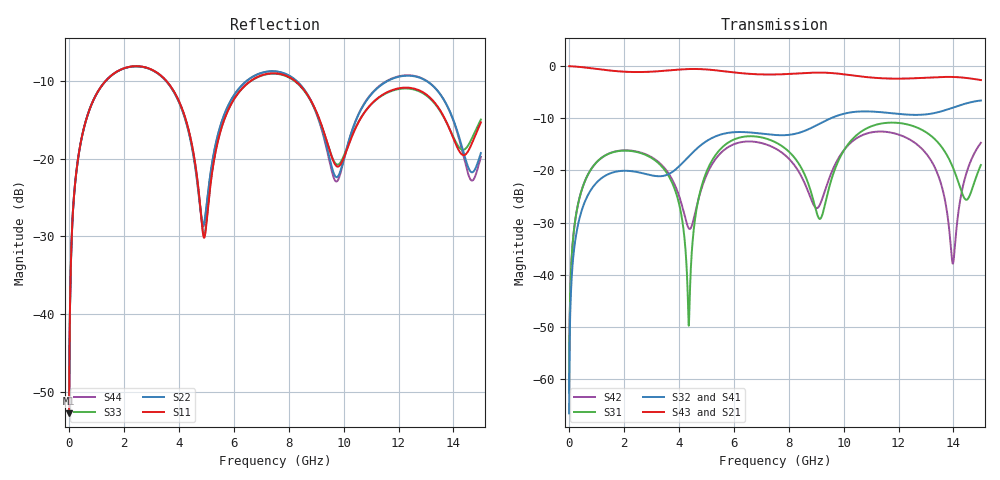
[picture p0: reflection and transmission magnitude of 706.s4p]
! Created with skrf 1.8.0 (http://scikit-rf.org).
# GHz S RI R 50.0
!freq ReS11 ImS11 ReS12 ImS12 ReS13 ImS13
! ReS14 ImS14
! ReS21 ImS21 ReS22 ImS22 ReS23 ImS23
! ReS24 ImS24
! ReS31 ImS31 ReS32 ImS32 ReS33 ImS33
! ReS34 ImS34
! ReS41 ImS41 ReS42 ImS42 ReS43 ImS43
! ReS44 ImS44
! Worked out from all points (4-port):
!   2499 points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, 5 MHz to 15 GHz, reference 50 ohm
!   strongest paths, dB at 5 MHz, 3.476 GHz, 7.19 GHz, 11.1 GHz, 15 GHz:
!     S43: 0.0, -0.9, -1.6, -2.2, -2.7
!     S21: 0.0, -0.9, -1.6, -2.2, -2.7
!     S32: -66.6, -21.0, -13.1, -8.7, -6.6
!     S41: -66.6, -21.1, -13.1, -8.8, -6.6
!     S31: -62.6, -19.9, -13.9, -11.4, -19.0
!     S42: -62.6, -19.5, -15.0, -12.6, -14.7
!   lowest |S11| = -52.8 dB at 5 MHz (marker M1), VSWR 1.00, Z = 50.2 + j0.139 ohm
!   |S11| at or under -10 dB: start of sweep to 1.334 GHz; 3.549 GHz to 6.614 GHz (3.065 GHz wide, 60.3 % of centre); 8.235 GHz to end of sweep
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0.005  0.00183 0.00139  0.9981 -0.00356  9.28e-05 0.000734  -9.01e-05 -0.000459
       0.9981 -0.00356  0.00183 0.00139  -9.01e-05 -0.000459  9.28e-05 0.000734
       9.28e-05 0.000734  -9.01e-05 -0.000459  0.00183 0.00139  0.9981 -0.00356
       -9.01e-05 -0.000459  9.28e-05 0.000734  0.9981 -0.00356  0.00183 0.00139
0.3626511  0.0365 0.1027  0.9496 -0.2533  0.0176 0.0487  -0.0146 -0.0296
           0.9496 -0.2533  0.0364 0.1027  -0.0146 -0.0296  0.0178 0.0487
           0.0176 0.0487  -0.0146 -0.0296  0.0365 0.1027  0.9496 -0.2533
           -0.0146 -0.0296  0.0178 0.0487  0.9496 -0.2533  0.0364 0.1027
1.825761  0.3497 0.1209  0.3378 -0.8234  0.1506 0.0296  -0.094 0.0282
          0.3378 -0.8234  0.349 0.1216  -0.0941 0.0285  0.1522 0.0256
          0.1506 0.0296  -0.0941 0.0285  0.3495 0.121  0.3379 -0.8234
          -0.094 0.0282  0.1522 0.0256  0.3379 -0.8234  0.349 0.1215
4.358066  0.0766 -0.1325  -0.8488 -0.3952  0.0033 -1.84e-06  -0.054 0.1244
          -0.8488 -0.3952  0.08 -0.1261  -0.0522 0.1252  -0.0247 -0.0131
          0.0033 -1.84e-06  -0.0522 0.1252  0.0771 -0.1314  -0.8489 -0.3952
          -0.054 0.1244  -0.0247 -0.0131  -0.8489 -0.3952  0.0787 -0.1258
5.589829  0.1068 0.1261  -0.8275 0.3426  0.1228 0.1134  0.113 0.1921
          -0.8275 0.3426  0.1215 0.1311  0.1156 0.1908  0.081 0.1287
          0.1228 0.1134  0.1156 0.1908  0.1075 0.1257  -0.8276 0.3423
          0.113 0.1921  0.081 0.1287  -0.8276 0.3423  0.1207 0.1324
9.860358  0.0903 0.00184  0.8372 0.1  0.0238 0.1294  0.0337 -0.339
          0.8372 0.1  0.0799 0.0141  0.0246 -0.3394  -0.0169 0.1359
          0.0238 0.1294  0.0246 -0.3394  0.0933 0.00348  0.8371 0.1013
          0.0337 -0.339  -0.0169 0.1359  0.8371 0.1013  0.0757 0.0179
15  0.1503 0.0818  -0.7322 -0.0591  0.0282 0.109  -0.0177 0.4689
    -0.7322 -0.0591  0.102 0.0377  0.00206 0.4681  0.0824 0.1642
    0.0282 0.109  0.00206 0.4681  0.159 0.0813  -0.7315 -0.0656
    -0.0177 0.4689  0.0824 0.1642  -0.7315 -0.0656  0.0931 0.0432
